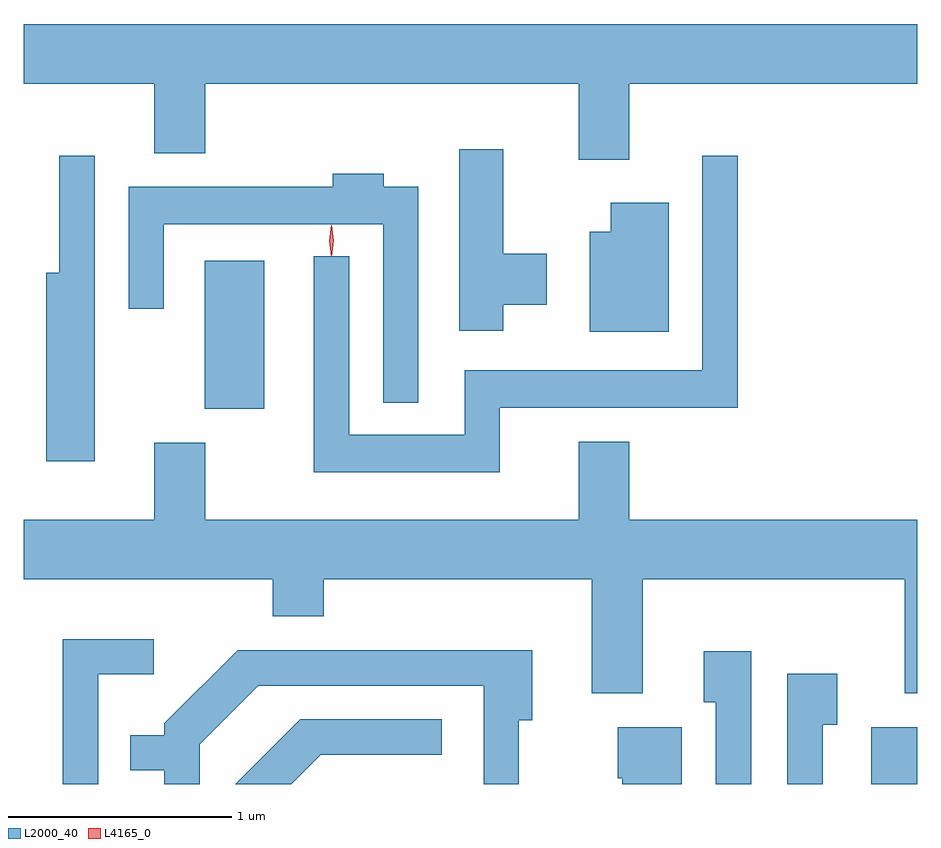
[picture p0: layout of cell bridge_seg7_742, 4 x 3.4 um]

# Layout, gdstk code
import gdstk
lib = gdstk.Library(unit=1e-6, precision=1e-09)
def R(c, l, rs):  # rectangles x0, y0, x1, y1
    for r in rs: c.add(gdstk.rectangle(r[:2], r[2:], *l))
def P(c, l, *ps):  # polygons
    for p in ps: c.add(gdstk.Polygon(p, *l))
L2000_40 = (2000, 40)
L4165_0 = (4165, 0)

bridge_seg7_742 = lib.new_cell('bridge_seg7_742')
R(bridge_seg7_742, L2000_40, [(512.031,1762.24,512.237,1762.494), (509.046,1763.921,509.314,1764.584)])
P(bridge_seg7_742, L2000_40, [(510.949,1765.376),(512.237,1765.376),(512.237,1765.644),(508.237,1765.644),(508.237,1765.376),(508.821,1765.376),(508.821,1765.066),(509.049,1765.066),(509.049,1765.376),(510.721,1765.376),(510.721,1765.036),(510.949,1765.036)],
  [(510.384,1764.386),(510.579,1764.386),(510.579,1764.614),(510.384,1764.614),(510.384,1765.084),(510.186,1765.084),(510.186,1764.271),(510.384,1764.271)],
  [(508.554,1765.053),(508.396,1765.053),(508.396,1764.529),(508.336,1764.529),(508.336,1763.686),(508.554,1763.686)],
  [(510.369,1763.926),(511.434,1763.926),(511.434,1765.053),(511.276,1765.053),(511.276,1764.094),(510.211,1764.094),(510.211,1763.804),(509.694,1763.804),(509.694,1764.603),(509.536,1764.603),(509.536,1763.636),(510.369,1763.636)],
  [(510.004,1764.914),(509.849,1764.914),(509.849,1764.974),(509.621,1764.974),(509.621,1764.914),(508.706,1764.914),(508.706,1764.368),(508.864,1764.368),(508.864,1764.746),(509.846,1764.746),(509.846,1763.948),(510.004,1763.948)],
  [(511.124,1764.844),(510.866,1764.844),(510.866,1764.714),(510.771,1764.714),(510.771,1764.266),(511.124,1764.266)],
  [(511.009,1763.156),(512.181,1763.156),(512.181,1762.646),(512.237,1762.646),(512.237,1763.424),(510.949,1763.424),(510.949,1763.774),(510.721,1763.774),(510.721,1763.424),(509.049,1763.424),(509.049,1763.769),(508.821,1763.769),(508.821,1763.424),(508.237,1763.424),(508.237,1763.156),(509.351,1763.156),(509.351,1762.991),(509.579,1762.991),(509.579,1763.156),(510.781,1763.156),(510.781,1762.646),(511.009,1762.646)],
  [(508.569,1762.731),(508.818,1762.731),(508.818,1762.889),(508.411,1762.889),(508.411,1762.24),(508.569,1762.24)],
  [(509.024,1762.419),(509.287,1762.681),(510.296,1762.681),(510.296,1762.24),(510.454,1762.24),(510.454,1762.526),(510.514,1762.526),(510.514,1762.839),(509.194,1762.839),(508.866,1762.512),(508.866,1762.459),(508.713,1762.459),(508.713,1762.301),(508.866,1762.301),(508.866,1762.24),(509.024,1762.24)],
  [(511.494,1762.834),(511.281,1762.834),(511.281,1762.606),(511.336,1762.606),(511.336,1762.24),(511.494,1762.24)],
  [(511.814,1762.506),(511.879,1762.506),(511.879,1762.734),(511.656,1762.734),(511.656,1762.24),(511.814,1762.24)],
  [(509.567,1762.371),(510.108,1762.371),(510.108,1762.529),(509.474,1762.529),(509.184,1762.24),(509.435,1762.24)],
  [(511.184,1762.494),(510.896,1762.494),(510.896,1762.266),(510.916,1762.266),(510.916,1762.24),(511.184,1762.24)])
P(bridge_seg7_742, L4165_0, [(509.614,1764.607),(509.605,1764.674),(509.614,1764.74),(509.615,1764.741),(509.615,1764.74),(509.625,1764.674),(509.615,1764.607),(509.615,1764.607)],
  [(509.614,1764.604),(509.605,1764.674),(509.614,1764.742),(509.615,1764.743),(509.615,1764.742),(509.625,1764.674),(509.615,1764.604),(509.615,1764.604)])

lib.write_gds('bridge_seg7_742.gds')
